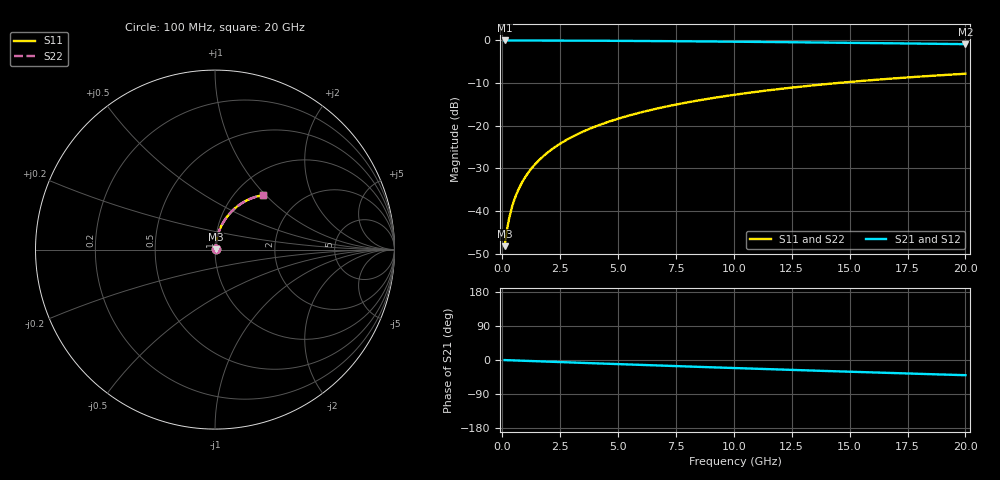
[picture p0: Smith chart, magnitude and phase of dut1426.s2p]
! Touchstone file exported from HFSS 2026.1.0
!  File:  C:/ffzhzh/LocalFiles/Ansys_Project_Files/temp_train_TMRDL_1426_1783166788_22436.aedt
!  Generated:  08:07:41 PM Jul  4, 2026
!  Design:  TMRDL
!  Project:  temp_train_TMRDL_1426_1783166788_22436
! Variables:
!  h_bsmrdl = 2um
!  h_ox = 20um
!  h_rdl = 5um
!  h_sub = 80um
!  h_tmrdl = 4.37um
!  h_tsv = 80um
!  h_via = 3um
!  l_bsmrdl = 300um
!  l_sub = 959.78um
!  l_tmrdl = 559.78um
!  m_sub = 200um
!  pitch = 47um
!  r_tsv = 6um
!  s_tmrdl = 10um
!  w_bsmrdl = 18um
!  w_sub = 500um
!  w_tmrdl = 16.64um
!  x_tsv_center1 = 568.1um
!  x_tsv_center2 = 886.1um
!  x_tsv_center3 = 1462.52um
!  x_tsv_center4 = 1780.52um
!  x_tsv_center5 = 2356.94um
!  x_tsv_center6 = 2674.94um
# GHz S MA R 50.000000
! Terminal data exported
! Port[1] = TM_RDL1_1_T1
! Port[2] = TM_RDL1_1_T2
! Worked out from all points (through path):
!   200 points, 100 MHz to 20 GHz, reference 50 ohm
!   highest |S21| = -0.02 dB at 100 MHz (marker M1); lowest = -0.9 dB at 20 GHz (marker M2)
!   group delay of S21, straight-line fit = 5.57 ps
!   lowest |S11| = -48.3 dB at 100 MHz (marker M3), VSWR 1.01, Z = 50.3 + j0.263 ohm
!   |S11| at or under -10 dB: start of sweep to 14.49 GHz
!   |S22| runs from -48.3 to -7.8 dB; largest |S21 - S12| = 2.6e-15
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0.1  0.003866 42.5  0.9972 -0.2  0.9972 -0.2  0.003866 42.5
! Gamma 0 0 0 0
! Port Impedance 50 0 50 0
0.2  0.005974 60.2  0.997 -0.5  0.997 -0.5  0.005974 60.2
0.3  0.008312 67.9  0.9969 -0.7  0.9969 -0.7  0.008312 67.9
0.4  0.0107 72.0  0.9968 -0.9  0.9968 -0.9  0.0107 72.0
0.5  0.0131 74.6  0.9967 -1.1  0.9967 -1.1  0.0131 74.6
0.6  0.0155 76.3  0.9966 -1.3  0.9966 -1.3  0.0155 76.3
0.8  0.02032 78.5  0.9964 -1.8  0.9964 -1.8  0.02032 78.5
1.1  0.02759 80.1  0.9961 -2.4  0.9961 -2.4  0.02759 80.1
1.5  0.0373 81.0  0.9957 -3.3  0.9957 -3.3  0.0373 81.0
1.8  0.04459 81.1  0.9952 -4.0  0.9952 -4.0  0.04459 81.1
2.1  0.05187 81.0  0.9947 -4.6  0.9947 -4.6  0.05187 81.0
2.7  0.06635 80.3  0.9935 -5.9  0.9935 -5.9  0.06635 80.3
3.5  0.08548 79.1  0.9916 -7.7  0.9916 -7.7  0.08548 79.1
4.2  0.102 77.9  0.9895 -9.2  0.9895 -9.2  0.102 77.9
5  0.1206 76.4  0.9869 -10.9  0.9869 -10.9  0.1206 76.4
5.9  0.1412 74.6  0.9836 -12.8  0.9836 -12.8  0.1412 74.6
6.8  0.1613 72.9  0.9799 -14.6  0.9799 -14.6  0.1613 72.9
8.3  0.194 70.0  0.9732 -17.7  0.9732 -17.7  0.194 69.9
10.1  0.2318 66.5  0.9642 -21.4  0.9642 -21.4  0.2318 66.5
13.4  0.2963 60.2  0.9454 -27.9  0.9454 -27.9  0.2963 60.2
16.7  0.3545 54.2  0.9246 -34.1  0.9246 -34.1  0.3545 54.2
20  0.4061 48.4  0.9029 -40.1  0.9029 -40.1  0.4061 48.4
